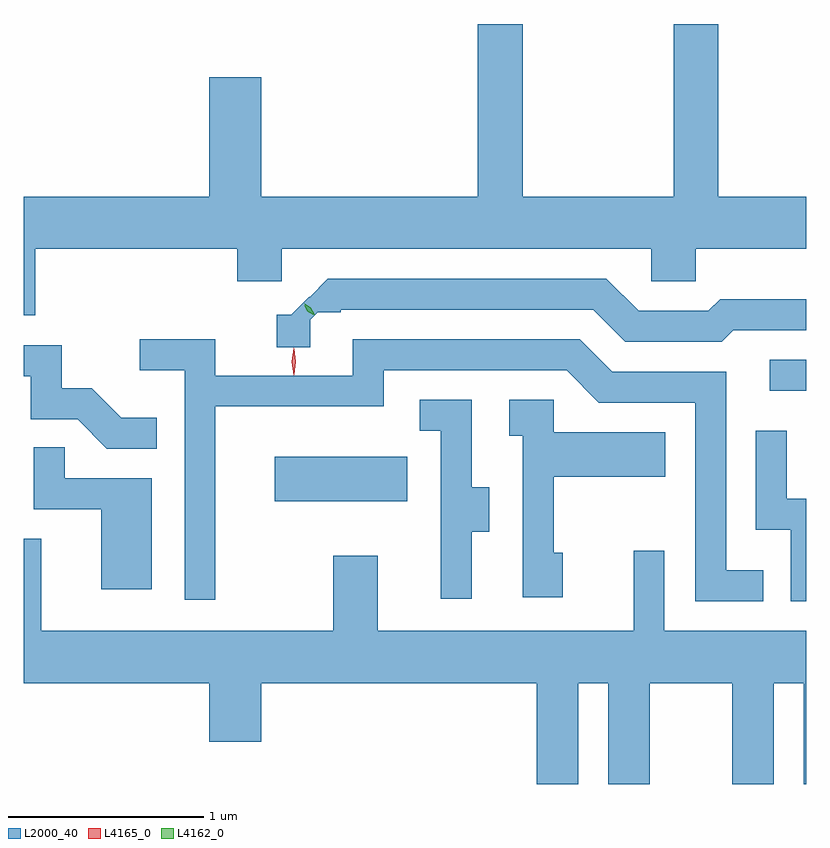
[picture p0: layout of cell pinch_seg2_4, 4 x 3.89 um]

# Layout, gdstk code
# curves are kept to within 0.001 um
import gdstk
lib = gdstk.Library(unit=1e-6, precision=1e-09)
def R(c, l, rs):  # rectangles x0, y0, x1, y1
    for r in rs: c.add(gdstk.rectangle(r[:2], r[2:], *l))
def P(c, l, *ps):  # polygons
    for p in ps: c.add(gdstk.Polygon(p, *l))
L2000_40 = (2000, 40)
L4162_0 = (4162, 0)
L4165_0 = (4165, 0)

pinch_seg2_4 = lib.new_cell('pinch_seg2_4')
R(pinch_seg2_4, L2000_40, [(1903.721,1073.666,1904.399,1073.894), (1906.253,1074.231,1906.439,1074.389)])
P(pinch_seg2_4, L2000_40, [(1902.499,1074.956),(1903.531,1074.956),(1903.531,1074.791),(1903.759,1074.791),(1903.759,1074.956),(1905.646,1074.956),(1905.646,1074.791),(1905.874,1074.791),(1905.874,1074.956),(1906.439,1074.956),(1906.439,1075.224),(1905.989,1075.224),(1905.989,1076.106),(1905.761,1076.106),(1905.761,1075.224),(1904.989,1075.224),(1904.989,1076.106),(1904.761,1076.106),(1904.761,1075.224),(1903.654,1075.224),(1903.654,1075.834),(1903.386,1075.834),(1903.386,1075.224),(1902.439,1075.224),(1902.439,1074.616),(1902.499,1074.616)],
  [(1903.904,1074.594),(1903.943,1074.633),(1904.06,1074.633),(1904.06,1074.646),(1905.349,1074.646),(1905.514,1074.481),(1906.007,1074.481),(1906.067,1074.541),(1906.439,1074.541),(1906.439,1074.699),(1905.999,1074.699),(1905.939,1074.639),(1905.582,1074.639),(1905.417,1074.804),(1903.994,1074.804),(1903.807,1074.619),(1903.733,1074.619),(1903.733,1074.453),(1903.904,1074.453)],
  [(1906.218,1073.314),(1906.029,1073.314),(1906.029,1074.329),(1905.447,1074.329),(1905.282,1074.494),(1904.121,1074.494),(1904.121,1074.309),(1903.419,1074.309),(1903.419,1074.494),(1903.033,1074.494),(1903.033,1074.336),(1903.261,1074.336),(1903.261,1073.163),(1903.419,1073.163),(1903.419,1074.151),(1904.279,1074.151),(1904.279,1074.336),(1905.214,1074.336),(1905.379,1074.171),(1905.871,1074.171),(1905.871,1073.156),(1906.218,1073.156)],
  [(1903.118,1074.094),(1902.937,1074.094),(1902.787,1074.244),(1902.634,1074.244),(1902.634,1074.464),(1902.439,1074.464),(1902.439,1074.306),(1902.476,1074.306),(1902.476,1074.086),(1902.714,1074.086),(1902.864,1073.936),(1903.118,1073.936)],
  [(1904.729,1073.511),(1904.819,1073.511),(1904.819,1073.739),(1904.729,1073.739),(1904.729,1074.184),(1904.463,1074.184),(1904.463,1074.026),(1904.571,1074.026),(1904.571,1073.168),(1904.729,1073.168)],
  [(1905.194,1073.404),(1905.149,1073.404),(1905.149,1073.791),(1905.719,1073.791),(1905.719,1074.019),(1905.149,1074.019),(1905.149,1074.184),(1904.921,1074.184),(1904.921,1074.001),(1904.991,1074.001),(1904.991,1073.176),(1905.194,1073.176)],
  [(1906.439,1073.679),(1906.339,1073.679),(1906.339,1074.028),(1906.181,1074.028),(1906.181,1073.521),(1906.361,1073.521),(1906.361,1073.156),(1906.439,1073.156)],
  [(1903.094,1073.784),(1902.649,1073.784),(1902.649,1073.943),(1902.491,1073.943),(1902.491,1073.626),(1902.836,1073.626),(1902.836,1073.216),(1903.094,1073.216)],
  [(1905.274,1072.736),(1905.426,1072.736),(1905.426,1072.221),(1905.639,1072.221),(1905.639,1072.736),(1906.061,1072.736),(1906.061,1072.221),(1906.274,1072.221),(1906.274,1072.736),(1906.426,1072.736),(1906.426,1072.221),(1906.439,1072.221),(1906.439,1073.004),(1905.714,1073.004),(1905.714,1073.413),(1905.556,1073.413),(1905.556,1073.004),(1904.249,1073.004),(1904.249,1073.389),(1904.021,1073.389),(1904.021,1073.004),(1902.529,1073.004),(1902.529,1073.474),(1902.439,1073.474),(1902.439,1072.736),(1903.386,1072.736),(1903.386,1072.436),(1903.654,1072.436),(1903.654,1072.736),(1905.061,1072.736),(1905.061,1072.221),(1905.274,1072.221)])
P(pinch_seg2_4, L4162_0, [(1903.926,1074.618),(1903.892,1074.642),(1903.873,1074.678),(1903.873,1074.679),(1903.874,1074.679),(1903.907,1074.655),(1903.927,1074.619),(1903.927,1074.618)],
  [(1903.919,1074.621),(1903.889,1074.638),(1903.874,1074.668),(1903.874,1074.669),(1903.874,1074.669),(1903.904,1074.652),(1903.919,1074.622),(1903.919,1074.621)])
P(pinch_seg2_4, L4165_0, [(1903.819,1074.31),(1903.819,1074.311),(1903.809,1074.38),(1903.819,1074.449),(1903.819,1074.45),(1903.82,1074.449),(1903.829,1074.38),(1903.82,1074.311)],
  [(1903.82,1074.313),(1903.82,1074.314),(1903.81,1074.38),(1903.82,1074.446),(1903.82,1074.447),(1903.821,1074.446),(1903.83,1074.38),(1903.821,1074.314)])

lib.write_gds('pinch_seg2_4.gds')
